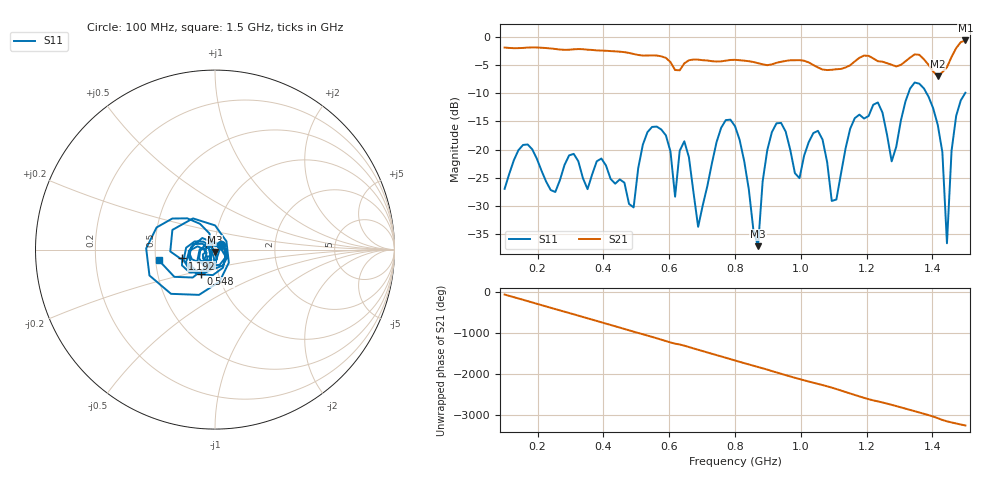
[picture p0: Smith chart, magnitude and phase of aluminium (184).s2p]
! NanoVNA-App
! Date: 2025-09-25 14:56:42
! Start: 100MHz Stop: 1,5GHz Points: 101
! S-Parameter data: F S11 S21 S12 S22
# Hz S RI R 50
!  Frequency  S11_Real  S11_Imag  S21_Real  S21_Imag  S12_Real  S12_Imag  S22_Real  S22_Imag
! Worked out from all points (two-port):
!   101 points, 100 MHz to 1.5 GHz, reference 50 ohm
!   highest |S21| = -0.67 dB at 1.5 GHz (marker M1); lowest = -7.0 dB at 1.416 GHz (marker M2)
!   |S21| within 3 dB of the highest: start of sweep to 585.6 MHz; 1.457 GHz to end of sweep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
!   lowest |S11| = -37.1 dB at 870 MHz (marker M3), VSWR 1.03, Z = 49.9 - j1.39 ohm
!   |S11| at or under -10 dB: start of sweep to 1.327 GHz; 1.382 GHz to 1.499 GHz (117.3 MHz wide, 8.14 % of centre)
!   S12 and S22 are empty: the file has one direction only
!   S11 on the Smith chart (normalised r, x): 100 MHz: 1.07, +0.06; 548 MHz: 0.82, -0.23; 1.192 GHz: 0.69, -0.07; 1.5 GHz: 0.52, -0.07
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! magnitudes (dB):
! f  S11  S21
! 100 MHz  -27.0  -1.9
! 156 MHz  -19.2  -2.0
! 338 MHz  -25.1  -2.2
! 492 MHz  -30.2  -3.1
! 548 MHz  -16.0  -3.3
! 576 MHz  -16.4  -3.5
! 618 MHz  -28.3  -5.9
! 646 MHz  -18.5  -4.7
! 688 MHz  -33.7  -4.1
! 800 MHz  -15.8  -4.1
! 870 MHz  -37.1  -4.7
! 912 MHz  -16.9  -4.9
! 996 MHz  -25.1  -4.2
! 1.038 GHz  -17.1  -5.0
! 1.094 GHz  -29.1  -5.9
! 1.192 GHz  -14.5  -3.3
! 1.276 GHz  -22.1  -5.0
! 1.346 GHz  -8.1  -3.1
! 1.416 GHz  -15.6  -7.0
! 1.444 GHz  -36.6  -5.4
! 1.458 GHz  -20.2  -3.6
! 1.5 GHz  -9.9  -0.7
